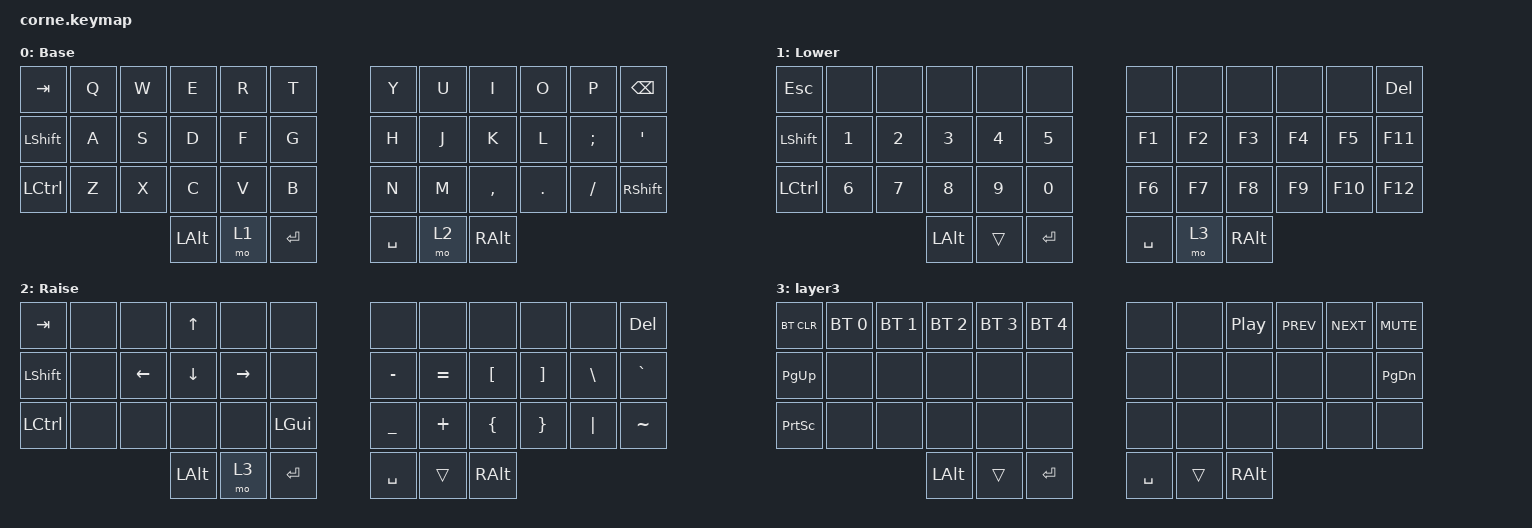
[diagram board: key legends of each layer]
/*
 * Copyright (c) 2020 The ZMK Contributors
 *
 * SPDX-License-Identifier: MIT
 */

#include <behaviors.dtsi>
#include <dt-bindings/zmk/keys.h>
#include <dt-bindings/zmk/bt.h>
#include <dt-bindings/zmk/ext_power.h>

/ {
        keymap {
                compatible = "zmk,keymap";

                layer0 {
// -----------------------------------------------------------------------------------------
// |  TAB |  Q  |  W  |  E  |  R  |  T  |   |  Y  |  U   |  I  |  O  |  P  | BKSP |
// | SHFT |  A  |  S  |  D  |  F  |  G  |   |  H  |  J   |  K  |  L  |  ;  |  '   |
// | CTRL |  Z  |  X  |  C  |  V  |  B  |   |  N  |  M   |  ,  |  .  |  /  | SHFT |
//                    | ALT | LWR | ENT |   | SPC | RSE  | ALT |
                        label = "Base";
                        bindings = <
   &kp TAB   &kp Q &kp W &kp E &kp R &kp T   &kp Y &kp U &kp I     &kp O   &kp P    &kp BSPC
   &kp LSHFT &kp A &kp S &kp D &kp F &kp G   &kp H &kp J &kp K     &kp L   &kp SEMI &kp SQT
   &kp LCTRL &kp Z &kp X &kp C &kp V &kp B   &kp N &kp M &kp COMMA &kp DOT &kp FSLH &kp RSHFT
                  &kp LALT  &mo 1  &kp RET   &kp SPACE  &mo 2  &kp RALT
                        >;
                };
                layer1 {
// -----------------------------------------------------------------------------------------
// |  ESC |     |     |     |     |     |   |     |     |     |     |     | DEL |
// | SHFT |  1  |  2  |  3  |  4  |  5  |   | F1  | F2  | F3  | F4  | F5  | F11 |
// | CTRL |  6  |  7  |  8  |  9  |  0  |   | F6  | F7  | F8  | F9  | F10 | F12 |
//                    | ALT |     | ENT |   | SPC |layer| ALT |
                        label = "Lower";
                        bindings = <
   &kp ESC   &none  &none  &none  &none  &none    &none  &none  &none  &none  &none  &kp DELETE
   &kp LSHFT &kp N1 &kp N2 &kp N3 &kp N4 &kp N5   &kp F1 &kp F2 &kp F3 &kp F4 &kp F5 &kp F11
   &kp LCTRL &kp N6 &kp N7 &kp N8 &kp N9 &kp N0   &kp F6 &kp F7 &kp F8 &kp F9 &kp F10 &kp F12
                      &kp LALT  &trans  &kp RET   &kp SPACE  &mo 3  &kp RALT
                        >;     
                };
                layer2 {
// -----------------------------------------------------------------------------------------
// |  TAB |     |     | UP  |     |     |   |     |     |     |     |     | DEL |
// | SHFT |     | LEFT| DWN |RIGHT|     |   |  -  |  =  |  [  |  ]  |  \  |  `  |
// | CTRL |     |     |     |     | LGUI|   |  _  |  +  |  {  |  }  | "|" |  ~  |
//                    | ALT |layer| ENT |   | SPC |     | ALT |
                        label = "Raise";
                        bindings = <
   &kp TAB   &none &none    &kp UP   &none     &none      &none     &none     &none    &none    &none         &kp DELETE
   &kp LSHFT &none &kp LEFT &kp DOWN &kp RIGHT &none      &kp MINUS &kp EQUAL &kp LBKT &kp RBKT &kp BACKSLASH &kp GRAVE
   &kp LCTRL &none &none    &none    &none     &kp LGUI   &kp UNDER &kp PLUS  &kp LBRC &kp RBRC &kp PIPE      &kp TILDE
                                 &kp LALT &mo 3 &kp RET   &kp SPACE &trans &kp RALT
                        >;
                };
                layer3 {
// -----------------------------------------------------------------------------------------
// | BTCLR| BT1 | BT2 | BT3 | BT4 | BT5 |   |     |     |PL/PS| PREV| NEXT| MUTE|
// | PGUP |     |     |     |     |     |   |     |     |     |     |     |PGDWN|
// | PRTSC|     |     |     |     |     |   |     |     |     |     |     |     |
//                    | ALT |     | ENT |   | SPC |     | ALT |
          bindings = <
          &bt BT_CLR &bt BT_SEL 0 &bt BT_SEL 1 &bt BT_SEL 2 &bt BT_SEL 3 &bt BT_SEL 4   &none &none &kp C_PP &kp C_PREV &kp C_NEXT &kp C_MUTE
          &kp PG_UP  &none        &none        &none        &none        &none          &none &none &none    &none      &none      &kp PG_DN
          &kp PSCRN  &none        &none        &none        &none        &none          &none &none &none    &none      &none      &none
                                                              &kp LALT &trans &kp RET   &kp SPACE &trans &kp RALT
          >;
        };
    };
  };
